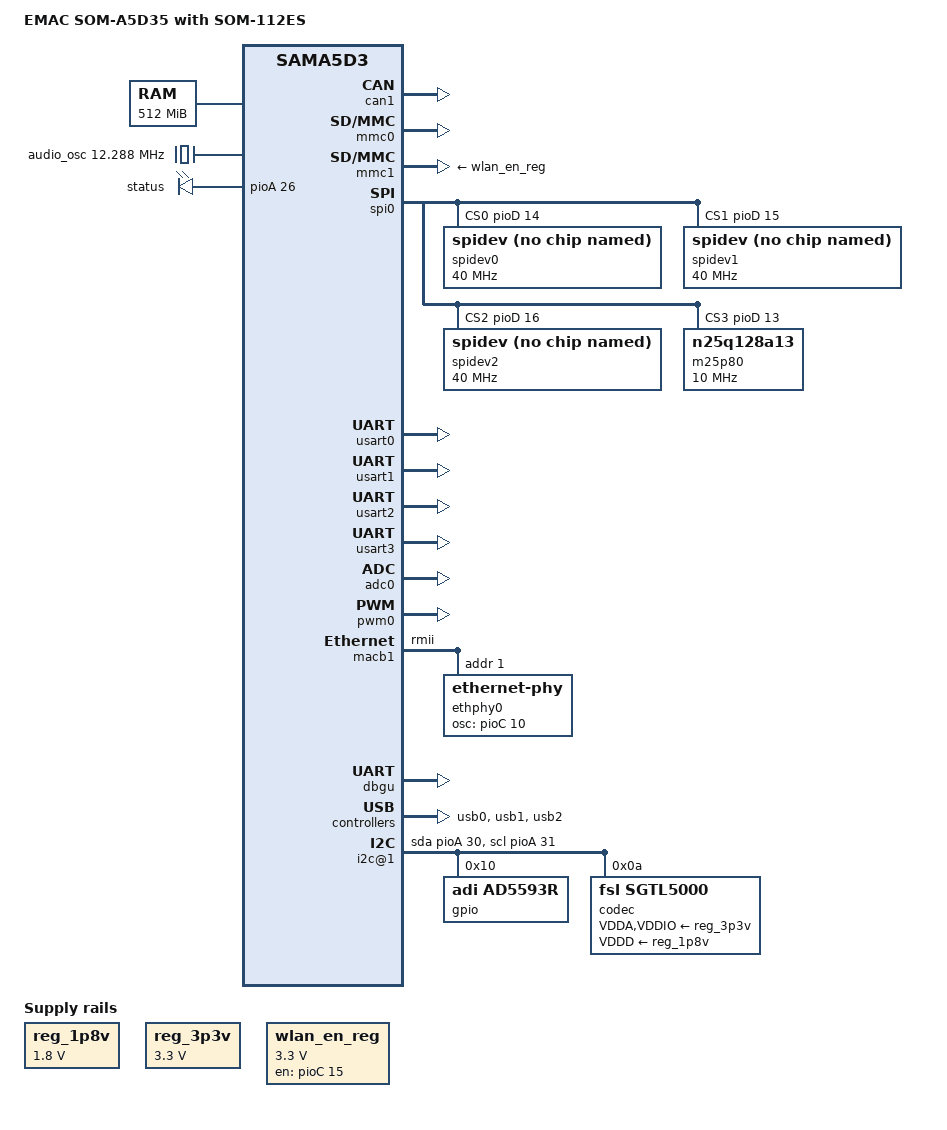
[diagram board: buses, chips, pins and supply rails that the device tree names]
/*
 * som-a5d35-150es.dts - Device Tree file for the SoM-A5D35 / SoM-150ES.
 *
 *  Copyright (C) 2015 EMAC Inc.
 *
 * Licensed under GPLv2 or later.
 */
/dts-v1/;
#include "sama5d35.dtsi"
#include <dt-bindings/iio/adi,ad5592r.h>

/ {
	model = "EMAC SOM-A5D35 with SOM-112ES";
	compatible = "emac,soma5d35", "atmel,sama5d3", "atmel,sama5";

	aliases {
		spi0 = &spi0;
	};

	memory {
		reg = <0x20000000 0x20000000>;
	};

	clocks {
		#address-cells = <1>;
		#size-cells = <1>;
		ranges;

		main_clock: clock@0 {
			compatible = "atmel,osc", "fixed-clock";
			clock-frequency = <12000000>;
		};

		slow_xtal {
			clock-frequency = <32768>;
		};

		main_xtal {
			clock-frequency = <12000000>;
		};

		phy_clk: clock@1 {
			compatible = "fixed-clock";
			#clock-cells = <0>;
			clock-output-names = "rmii-ref";
			clock-frequency = <50000000>;
		};

		audio_osc: audio_osc {
			compatible = "fixed-clock";
			#clock-cells = <0>;
			clock-frequency = <12288000>;
		};
	};

	regulators {
		compatible = "simple-bus";
		#address-cells = <1>;
		#size-cells = <0>;

		reg_1p8v: regulator-1p8v {
			compatible = "regulator-fixed";
			regulator-name = "1P8V";
			regulator-min-microvolt = <1800000>;
			regulator-max-microvolt = <1800000>;
			regulator-boot-on;
			regulator-always-on;
		};

		reg_3p3v: regulator-3p3v {
			compatible = "regulator-fixed";
			regulator-name = "3P3V";
			regulator-min-microvolt = <3300000>;
			regulator-max-microvolt = <3300000>;
			regulator-always-on;
		};

		wlan_en_reg: regulator@1 {
			compatible = "regulator-fixed";
			regulator-name = "wlan-en-regulator";
			regulator-min-microvolt = <3300000>;
			regulator-max-microvolt = <3300000>;
			gpio = <&pioC 15 1>;
			regulator-always-on;
			startup-delay-us = <2000>;
			enable-active-high;
               };
	};

	ahb {
		apb {			
			can1: can@f8010000 {
				status = "okay";
			};

			mmc0: mmc@f0000000 {
				pinctrl-names = "default";
				pinctrl-0 = <&pinctrl_mmc0_clk_cmd_dat0 &pinctrl_mmc0_dat1_3>;
				status = "okay";
				slot@0 {
					reg = <0>;
					bus-width = <4>;
					non-removable;
				};
			};

			mmc1: mmc@f8000000 {
				pinctrl-names = "default";
				pinctrl-0 = <&pinctrl_mmc1_clk_cmd_dat0 &pinctrl_mmc1_dat1_3>;
				vmmc-supply = <&wlan_en_reg>;
				status = "okay";
				slot@0 {
					reg = <0>;
					bus-width = <4>;
				};
			};

			spi0: spi@f0004000 {
				cs-gpios = <&pioD 14 0>, <&pioD 15 0>, <&pioD 16 0>, <&pioD 13 0>;
				status = "okay";

				spidev0: spidev@0 {
					compatible = "emac,spidev";
					reg = <0>;
					spi-max-frequency = <40000000>;
				};

				spidev1: spidev@1 {
					compatible = "emac,spidev";
					reg = <1>;
					spi-max-frequency = <40000000>;
				};

				spidev2: spidev@2 {
					compatible = "emac,spidev";
					reg = <2>;
					spi-max-frequency = <40000000>;
				};

				m25p80@3 {
					compatible = "n25q128a13";
					spi-max-frequency = <10000000>;
					spi-cpol;
					spi-cpha;
					reg = <3>;
				};
			};

			ssc1: ssc@f800c000 {
				#sound-dai-cells = <0>;
				status = "okay";
			};

			i2c0: i2c@f0014000 {
				status = "disabled";
			};

			usart0: serial@f001c000 {
				atmel,use-dma-tx;
				atmel,use-dma-rx;
				status = "okay";
			};

			usart1: serial@f0020000 {
				pinctrl-names = "default";
				pinctrl-0 = <&pinctrl_usart1 &pinctrl_usart1_rts_cts>;
				atmel,use-dma-tx;
				atmel,use-dma-rx;
				status = "okay";
			};

			usart2: serial@f8020000 {
				pinctrl-names = "default";
				pinctrl-0 = <&pinctrl_usart2 &pinctrl_usart2_rts_cts>;
				atmel,use-dma-tx;
				atmel,use-dma-rx;
				status = "okay";
			};

			usart3: serial@f8024000 {
				atmel,use-dma-tx;
				atmel,use-dma-rx;
				status = "okay";
			};

			adc0: adc@f8018000 {
				pinctrl-names = "default";
				pinctrl-0 = <
					&pinctrl_adc0_ad0
					&pinctrl_adc0_ad1
					&pinctrl_adc0_ad2
					&pinctrl_adc0_ad3
					>;
				atmel,adc-channels-used = <0x0f>;
				status = "okay";
			};

			pwm0: pwm@f002c000 {
				#address-cells = <1>;
				#size-cells = <0>;
				pinctrl-names = "default";
				pinctrl-0 = <&pinctrl_pwm0_pwml2_1>;
				status = "okay";
			};

			macb1: ethernet@f802c000 {				
				phy-mode = "rmii";
				status = "okay";
				#address-cells = <1>;
				#size-cells = <0>;

				ethphy0: ethernet-phy {
					reg = <0x1>;
					clocks = <&phy_clk>;
					clock-names = "rmii-ref";
					phy-handle = <&ethphy0>;
					osc-gpio = <&pioC 10 0>;
				};
			};

			pinctrl@fffff200 {
				board {
					pinctrl_tcb_as_pwm: tcb_as_pwm {
						atmel,pins =
							<AT91_PIOC 12 AT91_PERIPH_B AT91_PINCTRL_NONE>;
					};

					pinctrl_i2c_gpio: i2c_gpio-0 {
						atmel,pins =
							<AT91_PIOA 30 AT91_PERIPH_GPIO AT91_PINCTRL_MULTI_DRIVE
							 AT91_PIOA 31 AT91_PERIPH_GPIO AT91_PINCTRL_MULTI_DRIVE>;
					};
				};
			};

			dbgu: serial@ffffee00 {
				status = "okay";
			};
		};

		usb0: gadget@500000 {
			status = "okay";
		};

		usb1: ohci@600000 {
			num-ports = <3>;
			status = "okay";
		};

		usb2: ehci@700000 {
			status = "okay";
		};
	};

	i2c@1 {
		compatible = "i2c-gpio";
		gpios = <&pioA 30 0 /* sda */
			 &pioA 31 0 /* scl */
			>;
		i2c-gpio,sda-open-drain;
		i2c-gpio,scl-open-drain;
		i2c-gpio,delay-us = <2>;	/* ~100 kHz */
		#address-cells = <1>;
		#size-cells = <0>;
		pinctrl-names = "default";
		pinctrl-0 = <&pinctrl_i2c_gpio>;
		status = "okay";

		gpio: ad5593r@10 {
			#size-cells = <0>;
			#address-cells = <1>;
			#gpio-cells = <2>;
			compatible = "adi,ad5593r";
			reg = <0x10>;
			gpio-controller;

			channel@0 {
				reg = <0>;
				adi,mode = <CH_MODE_GPIO>;
				adi,off-state = <CH_OFFSTATE_PULLDOWN>;
			};

			channel@1 {
				reg = <1>;
				adi,mode = <CH_MODE_GPIO>;
				adi,off-state = <CH_OFFSTATE_PULLDOWN>;
			};

			channel@2 {
				reg = <2>;
				adi,mode = <CH_MODE_GPIO>;
				adi,off-state = <CH_OFFSTATE_PULLDOWN>;
			};

			channel@3 {
				reg = <3>;
				adi,mode = <CH_MODE_GPIO>;
				adi,off-state = <CH_OFFSTATE_PULLDOWN>;
			};

			channel@4 {
				reg = <4>;
				adi,mode = <CH_MODE_DAC_AND_ADC>;
				adi,off-state = <CH_OFFSTATE_PULLDOWN>;
			};
	
			channel@5 {
				reg = <5>;
				adi,mode = <CH_MODE_DAC_AND_ADC>;
				adi,off-state = <CH_OFFSTATE_PULLDOWN>;
			};

			channel@6 {
				reg = <6>;
				adi,mode = <CH_MODE_DAC_AND_ADC>;
				adi,off-state = <CH_OFFSTATE_PULLDOWN>;
			};

			channel@7 {
				reg = <7>;
				adi,mode = <CH_MODE_DAC_AND_ADC>;
				adi,off-state = <CH_OFFSTATE_PULLDOWN>;
			};

		};

		codec: sgtl5000@0a {
			#sound-dai-cells = <0>;
			reg = <0x0a>;
			compatible = "fsl,sgtl5000";
			clocks = <&audio_osc>;
			VDDA-supply = <&reg_3p3v>;
			VDDIO-supply = <&reg_3p3v>;
			VDDD-supply = <&reg_1p8v>;
		};
	};

	sound {
		compatible = "simple-audio-card";
		simple-audio-card,name = "sgtl5000 @ SOMA5D35";
		simple-audio-card,format = "i2s";
		simple-audio-card,bitclock-master = <&codec_master>;
		simple-audio-card,frame-master = <&codec_master>;
		simple-audio-card,widgets =
			"Line", "Line In",
			"Line", "Line Out";
		simple-audio-card,routing =
			"Line In", "Capture",
			"Line Out", "Playback";

		cpu_master: simple-audio-card,cpu {
			sound-dai = <&ssc1>;
		};

		codec_master: simple-audio-card,codec {
			sound-dai = <&codec>;
		};
	};

	pwmtcb: pwmtcb {
		compatible = "atmel,tcb-pwm";
		pinctrl-names = "default";
		pinctrl-0 = <&pinctrl_tcb_as_pwm>;
		#pwm-cells = <3>;
		tc-block = <0>;
	};

	leds {
		compatible = "gpio-leds";
		status {
			label = "status";
			gpios = <&pioA 26 GPIO_ACTIVE_HIGH>;
			default-state = "on";
		};
	};
};
